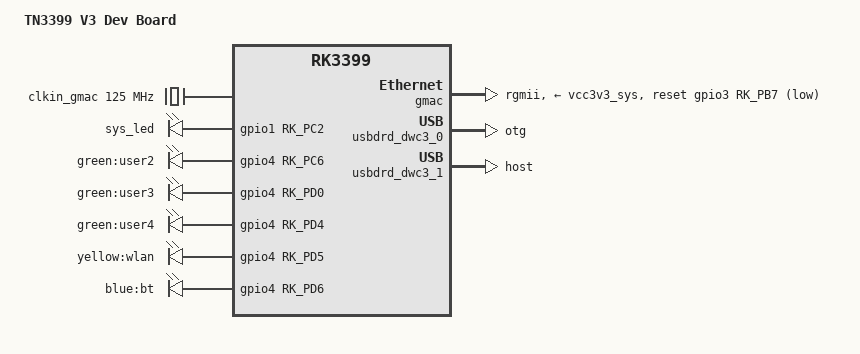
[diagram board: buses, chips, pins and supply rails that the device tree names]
// SPDX-License-Identifier: (GPL-2.0+ OR MIT)
/*
 * Thanks @sangood
 * https://www.right.com.cn/forum/forum.php?mod=viewthread&tid=4033942&page=4#pid9538379
 *
 * Copyright (c) 2018 Linaro Ltd.
 */

/dts-v1/;
#include "rk3399-rock960.dtsi"

/ {
	model = "TN3399 V3 Dev Board";
	compatible = "vamrs,rock960", "rockchip,rk3399";

	chosen {
		stdout-path = "serial2:1500000n8";
	};

	clkin_gmac: external-gmac-clock {
		compatible = "fixed-clock";
		clock-frequency = <125000000>;
		clock-output-names = "clkin_gmac";
		#clock-cells = <0>;
	};

	leds {
		compatible = "gpio-leds";
		pinctrl-names = "default";
		pinctrl-0 = <&user_led1_pin>, <&user_led2_pin>,
			    <&user_led3_pin>, <&user_led4_pin>,
			    <&wlan_led_pin>, <&bt_led_pin>;

		user_led1: led-1 {
			label = "sys_led";
			gpios = <&gpio1 RK_PC2 0>;
			linux,default-trigger = "heartbeat";
		};

		user_led2: led-2 {
			label = "green:user2";
			gpios = <&gpio4 RK_PC6 0>;
			linux,default-trigger = "mmc0";
		};

		user_led3: led-3 {
			label = "green:user3";
			gpios = <&gpio4 RK_PD0 0>;
			linux,default-trigger = "mmc1";
		};

		user_led4: led-4 {
			label = "green:user4";
			gpios = <&gpio4 RK_PD4 0>;
			panic-indicator;
			linux,default-trigger = "none";
		};

		wlan_active_led: led-5 {
			label = "yellow:wlan";
			gpios = <&gpio4 RK_PD5 0>;
			linux,default-trigger = "phy0tx";
			default-state = "off";
		};

		bt_active_led: led-6 {
			label = "blue:bt";
			gpios = <&gpio4 RK_PD6 0>;
			linux,default-trigger = "hci0-power";
			default-state = "off";
		};
	};

};

&gmac {
	assigned-clocks = <&cru SCLK_RMII_SRC>;
	assigned-clock-parents = <&clkin_gmac>;
	clock_in_out = "input";
	phy-supply = <&vcc3v3_sys>;
	phy-mode = "rgmii";
	pinctrl-names = "default";
	pinctrl-0 = <&rgmii_pins>;
	snps,reset-gpio = <&gpio3 RK_PB7 GPIO_ACTIVE_LOW>;
	snps,reset-active-low;
	snps,reset-delays-us = <0 10000 50000>;
	tx_delay = <0x28>;
	rx_delay = <0x11>;
	status = "okay";
};

&pcie0 {
	ep-gpios = <&gpio2 RK_PA2 GPIO_ACTIVE_HIGH>;
};

&pinctrl {
	gmac {
		rgmii_sleep_pins: rgmii-sleep-pins {
			rockchip,pins =
				<1 RK_PB2 RK_FUNC_GPIO &pcfg_output_low>;
		};
	};

	leds {
		user_led1_pin: user-led1-pin {
			rockchip,pins =
				<4 RK_PC2 RK_FUNC_GPIO &pcfg_pull_none>;
		};

		user_led2_pin: user-led2-pin {
			rockchip,pins =
				<4 RK_PC6 RK_FUNC_GPIO &pcfg_pull_none>;
		};

		user_led3_pin: user-led3-pin {
			rockchip,pins =
				<4 RK_PD0 RK_FUNC_GPIO &pcfg_pull_none>;
		};

		user_led4_pin: user-led4-pin {
			rockchip,pins =
				<4 RK_PD4 RK_FUNC_GPIO &pcfg_pull_none>;
		};

		wlan_led_pin: wlan-led-pin {
			rockchip,pins =
				<4 RK_PD5 RK_FUNC_GPIO &pcfg_pull_none>;
		};

		bt_led_pin: bt-led-pin {
			rockchip,pins =
				<4 RK_PD6 RK_FUNC_GPIO &pcfg_pull_none>;
		};
	};

	pcie {
		pcie_drv: pcie-drv {
			rockchip,pins =
				<2 RK_PA5 RK_FUNC_GPIO &pcfg_pull_none>;
			};
	};

	usb2 {
		host_vbus_drv: host-vbus-drv {
			rockchip,pins =
				<4 RK_PD1 RK_FUNC_GPIO &pcfg_pull_none>;
		};
	};
};

&thermal_zones {
	cpu_thermal: cpu {
		polling-delay-passive = <100>;
		polling-delay = <1000>;
		thermal-sensors = <&tsadc 0>;
		sustainable-power = <1550>;

		trips {
			cpu_alert0: cpu_alert0 {
				    temperature = <65000>;
				    hysteresis = <2000>;
				    type = "passive";
			};

			cpu_alert1: cpu_alert1 {
				    temperature = <75000>;
				    hysteresis = <2000>;
				    type = "passive";
			};

			cpu_crit: cpu_crit {
				  temperature = <95000>;
				  hysteresis = <2000>;
				  type = "critical";
			};
		};

		cooling-maps {
			     map0 {

			     trip = <&cpu_alert1>;
			     cooling-device =
					<&cpu_b0 THERMAL_NO_LIMIT THERMAL_NO_LIMIT>,
					<&cpu_b1 THERMAL_NO_LIMIT THERMAL_NO_LIMIT>;
			};
		};
	};
};

&usbdrd_dwc3_0 {
	dr_mode = "otg";
};

&usbdrd_dwc3_1 {
	dr_mode = "host";
};

&vcc3v3_pcie {
	gpio = <&gpio2 5 GPIO_ACTIVE_HIGH>;
};

&vcc5v0_host {
	gpio = <&gpio4 25 GPIO_ACTIVE_HIGH>;
};
